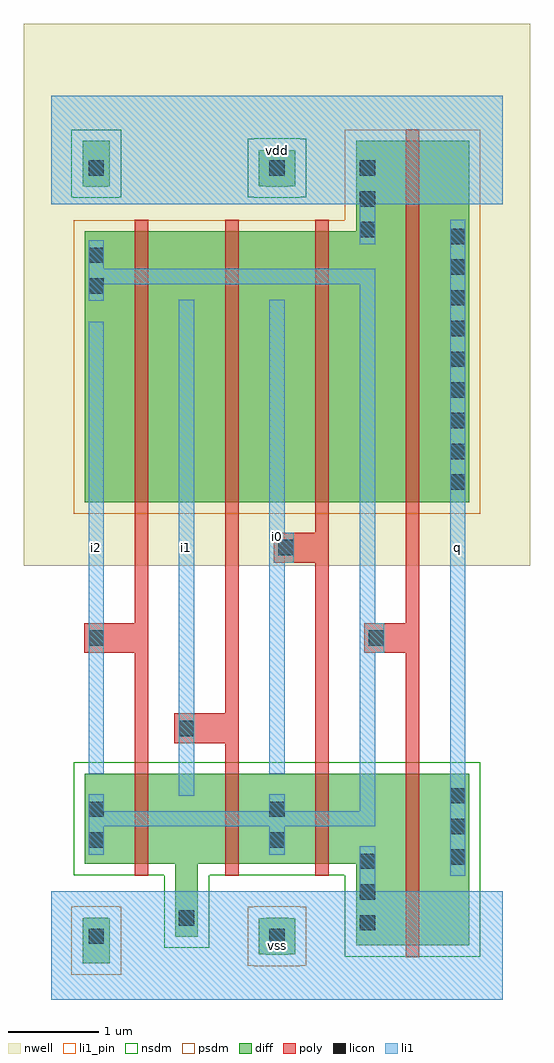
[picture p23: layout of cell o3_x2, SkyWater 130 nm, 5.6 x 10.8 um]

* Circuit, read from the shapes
.subckt o3_x2 i0 i1 i2 q vdd vss
XM1 vss i2 n1 VSUBS sky130_fd_pr__nfet_01v8 w=1 l=0.15
XM2 n1 i1 vss VSUBS sky130_fd_pr__nfet_01v8 w=1 l=0.15
XM3 vss i0 n1 VSUBS sky130_fd_pr__nfet_01v8 w=1 l=0.15
XM4 q n1 vss VSUBS sky130_fd_pr__nfet_01v8 w=1.9 l=0.15
XM5 n2 i2 n1 n3 sky130_fd_pr__pfet_01v8 w=3 l=0.15
XM6 n4 i1 n2 n3 sky130_fd_pr__pfet_01v8 w=3 l=0.15
XM7 vdd i0 n4 n3 sky130_fd_pr__pfet_01v8 w=3 l=0.15
XM8 q n1 vdd n3 sky130_fd_pr__pfet_01v8 w=4 l=0.15
.ends

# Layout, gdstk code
import gdstk
lib = gdstk.Library(unit=1e-6, precision=1e-09)
def R(c, l, rs):  # rectangles x0, y0, x1, y1
    for r in rs: c.add(gdstk.rectangle(r[:2], r[2:], *l))
def A(c, l, x, y, w, h, nx, ny, dx, dy):  # array of equal rectangles
    R(c, l, [(x+i*dx, y+j*dy, x+i*dx+w, y+j*dy+h) for i in range(nx) for j in range(ny)])
def P(c, l, *ps):  # polygons
    for p in ps: c.add(gdstk.Polygon(p, *l))
nwell = (64, 20)
diff = (65, 20)
poly = (66, 20)
licon = (66, 44)
li1_pin = (67, 16)
li1 = (67, 20)
nsdm = (93, 44)
psdm = (94, 20)

o3_x2 = lib.new_cell('o3_x2')
R(o3_x2, nwell, [(-0.3,4.8,5.3,10.8)])
P(o3_x2, diff, [(0.35,0.4),(0.35,0.9),(0.375,0.9),(0.375,0.905),(0.625,0.905),(0.625,0.9),(0.65,0.9),(0.65,0.4)],
  [(2.375,0.495),(2.375,0.5),(2.3,0.5),(2.3,0.9),(2.375,0.9),(2.375,0.905),(2.625,0.905),(2.625,0.9),(2.7,0.9),(2.7,0.5),(2.625,0.5),(2.625,0.495)],
  [(3.375,0.6),(3.375,1.5),(1.625,1.5),(1.625,0.695),(1.375,0.695),(1.375,1.5),(0.375,1.5),(0.375,2.5),(4.625,2.5),(4.625,0.6)],
  [(2.375,8.995),(2.375,9),(2.3,9),(2.3,9.4),(2.375,9.4),(2.375,9.405),(2.625,9.405),(2.625,9.4),(2.7,9.4),(2.7,9),(2.625,9),(2.625,8.995)],
  [(0.375,8.995),(0.375,9),(0.35,9),(0.35,9.5),(0.65,9.5),(0.65,9),(0.625,9),(0.625,8.995)],
  [(0.375,5.5),(0.375,8.5),(3.375,8.5),(3.375,9.5),(4.625,9.5),(4.625,5.5)])
P(o3_x2, poly, [(0.925,1.37),(0.925,3.835),(0.365,3.835),(0.365,4.165),(0.925,4.165),(0.925,8.63),(1.075,8.63),(1.075,1.37)],
  [(1.925,1.37),(1.925,2.835),(1.365,2.835),(1.365,3.165),(1.925,3.165),(1.925,8.63),(2.075,8.63),(2.075,1.37)],
  [(2.925,1.37),(2.925,4.835),(2.465,4.835),(2.465,5.165),(2.925,5.165),(2.925,8.63),(3.075,8.63),(3.075,1.37)],
  [(3.925,0.47),(3.925,3.835),(3.465,3.835),(3.465,4.165),(3.925,4.165),(3.925,9.63),(4.075,9.63),(4.075,0.47)])
A(o3_x2, licon, 3.415, 0.765, 0.17, 0.17, 1, 3, 0, 0.34)
A(o3_x2, licon, 4.415, 1.49, 0.17, 0.17, 1, 3, 0, 0.34)
A(o3_x2, licon, 4.415, 5.64, 0.17, 0.17, 1, 9, 0, 0.34)
A(o3_x2, licon, 3.415, 8.435, 0.17, 0.17, 1, 3, 0, 0.34)
R(o3_x2, licon, [(0.415,0.615,0.585,0.785), (2.415,0.615,2.585,0.785), (1.415,0.815,1.585,0.985), (0.415,1.68,0.585,1.85), (2.415,1.68,2.585,1.85), (0.415,2.02,0.585,2.19), (2.415,2.02,2.585,2.19), (1.415,2.915,1.585,3.085), (0.415,3.915,0.585,4.085), (3.515,3.915,3.685,4.085), (2.515,4.915,2.685,5.085), (0.415,7.81,0.585,7.98), (0.415,8.15,0.585,8.32), (0.415,9.115,0.585,9.285), (2.415,9.115,2.585,9.285)])
R(o3_x2, li1_pin, [(0,0,5,1.2), (4.415,1.37,4.585,8.63), (1.415,2.255,1.585,7.745), (0.415,2.5,0.585,7.5), (2.415,2.5,2.585,7.745), (0,8.8,5,10)])
R(o3_x2, li1, [(4.415,1.37,4.585,8.63), (1.415,2.255,1.585,7.745), (0.415,2.5,0.585,7.5)])
P(o3_x2, li1, [(0,0),(0,1.2),(3.415,1.2),(3.415,1.695),(3.585,1.695),(3.585,1.2),(5,1.2),(5,0)],
  [(2.415,2.5),(2.415,7.745),(2.585,7.745),(2.585,5.165),(2.685,5.165),(2.685,4.835),(2.585,4.835),(2.585,2.5)],
  [(0.415,1.6),(0.415,2.27),(0.585,2.27),(0.585,2.085),(2.415,2.085),(2.415,2.27),(2.585,2.27),(2.585,2.085),(3.415,2.085),(3.415,7.915),(0.585,7.915),(0.585,7.73),(0.415,7.73),(0.415,8.4),(0.585,8.4),(0.585,8.085),(3.585,8.085),(3.585,4.165),(3.685,4.165),(3.685,3.835),(3.585,3.835),(3.585,1.915),(2.585,1.915),(2.585,1.6),(2.415,1.6),(2.415,1.915),(0.585,1.915),(0.585,1.6)],
  [(3.415,8.355),(3.415,8.8),(0,8.8),(0,10),(5,10),(5,8.8),(3.585,8.8),(3.585,8.355)])
P(o3_x2, nsdm, [(3.25,0.475),(3.25,1.375),(1.75,1.375),(1.75,0.57),(1.25,0.57),(1.25,1.375),(0.25,1.375),(0.25,2.625),(4.75,2.625),(4.75,0.475)],
  [(2.25,8.87),(2.25,8.875),(2.175,8.875),(2.175,9.525),(2.25,9.525),(2.25,9.53),(2.75,9.53),(2.75,9.525),(2.825,9.525),(2.825,8.875),(2.75,8.875),(2.75,8.87)],
  [(0.25,8.87),(0.25,8.875),(0.225,8.875),(0.225,9.625),(0.775,9.625),(0.775,8.875),(0.75,8.875),(0.75,8.87)])
P(o3_x2, psdm, [(0.225,0.275),(0.225,1.025),(0.25,1.025),(0.25,1.03),(0.75,1.03),(0.75,1.025),(0.775,1.025),(0.775,0.275)],
  [(2.25,0.37),(2.25,0.375),(2.175,0.375),(2.175,1.025),(2.25,1.025),(2.25,1.03),(2.75,1.03),(2.75,1.025),(2.825,1.025),(2.825,0.375),(2.75,0.375),(2.75,0.37)],
  [(0.25,5.375),(0.25,8.625),(3.25,8.625),(3.25,9.625),(4.75,9.625),(4.75,5.375)])
o3_x2.add(gdstk.Label('vdd', (2.5,9.4), layer=67, texttype=16))
o3_x2.add(gdstk.Label('q', (4.5,5), layer=67, texttype=16))
o3_x2.add(gdstk.Label('vss', (2.5,0.6), layer=67, texttype=16))
o3_x2.add(gdstk.Label('i0', (2.5,5.123), layer=67, texttype=16))
o3_x2.add(gdstk.Label('i1', (1.5,5), layer=67, texttype=16))
o3_x2.add(gdstk.Label('i2', (0.5,5), layer=67, texttype=16))
o3_x2.add(gdstk.Label('vdd', (2.5,9.4), layer=67, texttype=16))
o3_x2.add(gdstk.Label('q', (4.5,5), layer=67, texttype=16))
o3_x2.add(gdstk.Label('vss', (2.5,0.6), layer=67, texttype=16))
o3_x2.add(gdstk.Label('i0', (2.5,5.123), layer=67, texttype=16))
o3_x2.add(gdstk.Label('i1', (1.5,5), layer=67, texttype=16))
o3_x2.add(gdstk.Label('i2', (0.5,5), layer=67, texttype=16))

lib.write_gds('o3_x2.gds')
